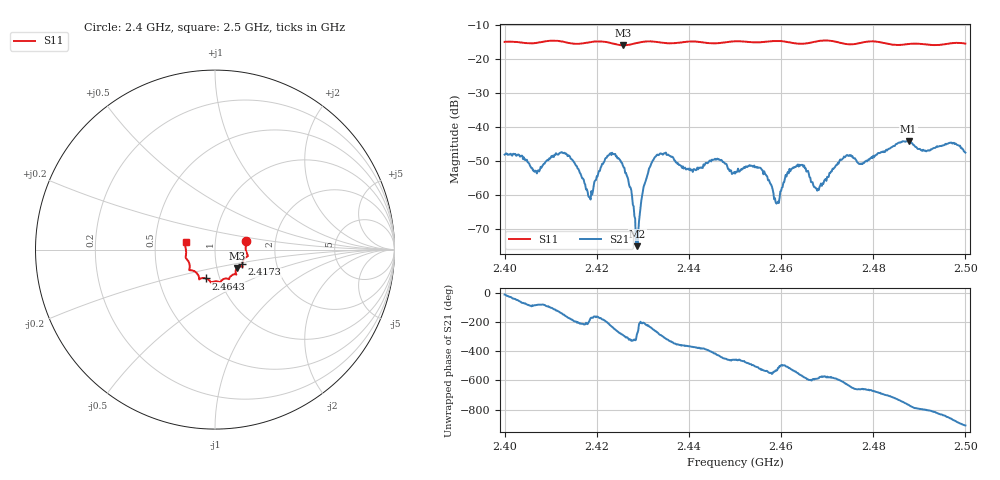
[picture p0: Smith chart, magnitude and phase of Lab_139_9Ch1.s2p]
# Hz S RI R 50
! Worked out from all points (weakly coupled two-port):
!   601 points, 2.4 GHz to 2.5 GHz, reference 50 ohm
!   highest |S21| = -44.07 dB at 2.4877 GHz (marker M1); lowest = -75.0 dB at 2.4288 GHz (marker M2)
!   lowest |S11| = -15.9 dB at 2.4257 GHz (marker M3), VSWR 1.38, Z = 62.5 - j13.1 ohm
!   |S11| at or under -10 dB: start of sweep to end of sweep
!   S12 and S22 are empty: the file has one direction only
!   S11 on the Smith chart (normalised r, x): 2.4 GHz: 1.41, +0.14; 2.4173 GHz: 1.34, -0.22; 2.4643 GHz: 0.86, -0.28; 2.5 GHz: 0.72, +0.06
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2.4e9  0.1729 0.0487  0.00386 -0.000817  0 0  0 0
2.407e9  0.1736 -0.0102  0.000223 -0.00208  0 0  0 0
2.412833e9  0.1751 -0.0407  -0.00357 -0.00213  0 0  0 0
2.416667e9  0.1525 -0.0742  -0.00162 0.00102  0 0  0 0
2.417333e9  0.1519 -0.0816  -0.0012 0.000904  0 0  0 0
2.418667e9  0.1527 -0.093  -0.000858 -9.82e-05  0 0  0 0
2.422833e9  0.1466 -0.0943  -0.00308 0.00265  0 0  0 0
2.425667e9  0.1229 -0.1023  0.00087 0.00258  0 0  0 0
2.428833e9  0.1149 -0.1303  8.78e-06 0.000178  0 0  0 0
2.4305e9  0.1181 -0.1377  -0.00128 0.000869  0 0  0 0
2.433333e9  0.113 -0.1371  0.000456 0.00385  0 0  0 0
2.45e9  0.0291 -0.181  -0.000271 -0.00206  0 0  0 0
2.4555e9  -0.00251 -0.1773  -0.00238 -0.000848  0 0  0 0
2.459e9  -0.0222 -0.1838  -0.000746 -8.85e-05  0 0  0 0
2.461333e9  -0.0275 -0.1767  -0.00174 -0.00117  0 0  0 0
2.464333e9  -0.0499 -0.1606  -0.00253 0.00118  0 0  0 0
2.466667e9  -0.0759 -0.1594  -0.00077 0.00135  0 0  0 0
2.468333e9  -0.0862 -0.1646  -0.00105 0.000801  0 0  0 0
2.474e9  -0.0975 -0.1362  -0.000395 0.0037  0 0  0 0
2.483333e9  -0.1407 -0.0901  0.00465 0.00126  0 0  0 0
2.487667e9  -0.159 -0.0519  0.00426 -0.00459  0 0  0 0
2.5e9  -0.1642 0.0429  -0.00418 0.000627  0 0  0 0
